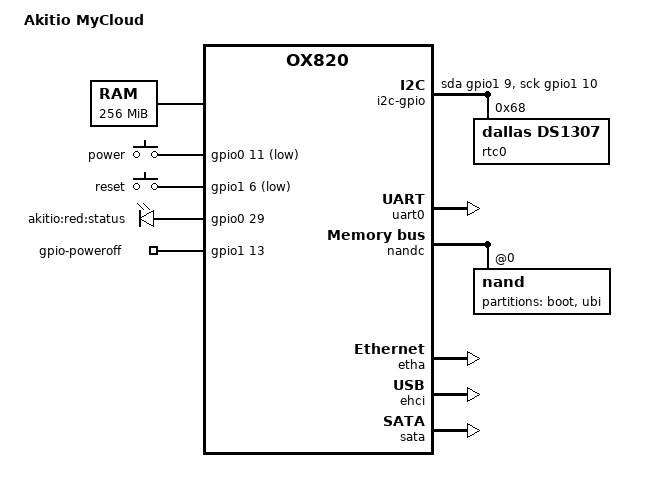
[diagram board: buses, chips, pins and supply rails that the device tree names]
/dts-v1/;

#include "ox820.dtsi"

#include <dt-bindings/gpio/gpio.h>
#include <dt-bindings/input/input.h>

/ {
	model = "Akitio MyCloud";

	compatible = "akitio,mycloud", "oxsemi,ox820";

	chosen {
		bootargs = "earlyprintk console=ttyS0,115200";
		stdout-path = "serial0:115200n8";
	};

	memory {
		/* 256Mbytes DDR */
		reg = <0x60000000 0x10000000>;
	};

	aliases {
		serial0 = &uart0;
		gpio0 = &gpio0;
		gpio1 = &gpio1;
		led-boot = &led_status;
		led-failsafe = &led_status;
		led-running = &led_status;
		led-upgrade = &led_status;
	};

	i2c-gpio {
		compatible = "i2c-gpio";
		sda-gpios = <&gpio1 9 (GPIO_ACTIVE_HIGH|GPIO_OPEN_DRAIN)>;
		sck-gpios = <&gpio1 10 (GPIO_ACTIVE_HIGH|GPIO_OPEN_DRAIN)>;
		pinctrl-0 = <&pinctrl_i2c>;
		i2c-gpio,delay-us = <10>;
		#address-cells = <1>;
		#size-cells = <0>;

		rtc0: rtc@68 {
			compatible = "dallas,ds1307";
			reg = <0x68>;
		};
	};

	keys {
		compatible = "gpio-keys-polled";
		#address-cells = <1>;
		#size-cells = <0>;
		poll-interval = <100>;

		power {
			label = "power";
			gpios = <&gpio0 11 GPIO_ACTIVE_LOW>;
			linux,code = <KEY_POWER>;
		};
		reset {
			label = "reset";
			gpios = <&gpio1 6 GPIO_ACTIVE_LOW>;
			linux,code = <KEY_RESTART>;
		};
	};

	leds {
		compatible = "gpio-leds";
		led_status: status {
			label = "akitio:red:status";
			gpios = <&gpio0 29 GPIO_ACTIVE_HIGH>;
		};
	};

	gpio-poweroff {
		compatible = "gpio-poweroff";
		gpios = <&gpio1 13 GPIO_SINGLE_ENDED>;
	};
};

&uart0 {
	status = "okay";

	pinctrl-names = "default";
	pinctrl-0 = <&pinctrl_uart0>;
};

&nandc {
	status = "okay";

	pinctrl-names = "default";
	pinctrl-0 = <&pinctrl_nand>;

	nand@0 {
		reg = <0>;
		#address-cells = <1>;
		#size-cells = <1>;
		nand-ecc-mode = "soft";
		nand-ecc-algo = "hamming";

		partition@0 {
			label = "boot";
			reg = <0x0 0x26c0000>;
		};

		partition@26c0000 {
			label = "ubi";
			reg = <0x26c0000 0xd940000>;
		};
	};
};

&etha {
	status = "okay";

	pinctrl-names = "default";
	pinctrl-0 = <&pinctrl_etha_mdio>;
};

&ehci {
	status = "okay";
};

&sata {
	status = "okay";
	nr-ports = <2>;
};
